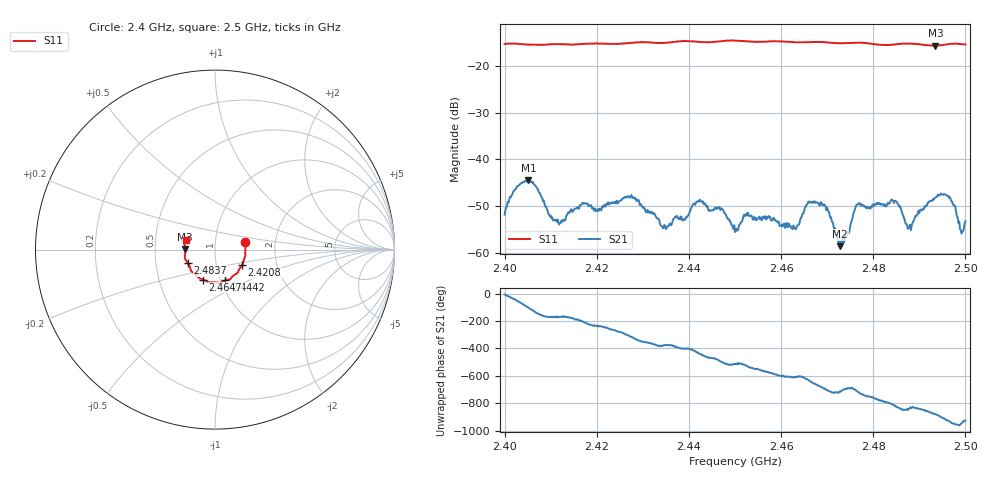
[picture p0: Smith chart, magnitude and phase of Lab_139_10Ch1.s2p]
# Hz S RI R 50
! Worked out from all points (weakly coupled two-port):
!   601 points, 2.4 GHz to 2.5 GHz, reference 50 ohm
!   highest |S21| = -44.46 dB at 2.4052 GHz (marker M1); lowest = -58.6 dB at 2.4728 GHz (marker M2)
!   lowest |S11| = -15.6 dB at 2.4935 GHz (marker M3), VSWR 1.40, Z = 35.8 + j0.21 ohm
!   |S11| at or under -10 dB: start of sweep to end of sweep
!   S12 and S22 are empty: the file has one direction only
!   S11 on the Smith chart (normalised r, x): 2.4 GHz: 1.40, +0.12; 2.4208 GHz: 1.33, -0.24; 2.4442 GHz: 1.05, -0.37; 2.4647 GHz: 0.83, -0.29; 2.4837 GHz: 0.73, -0.11; 2.5 GHz: 0.72, +0.08
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2.4e9  0.1682 0.0405  0.00254 -0.000253  0 0  0 0
2.405167e9  0.1701 0.00787  -0.0012 -0.00586  0 0  0 0
2.411667e9  0.1683 -0.0368  -0.0021 -0.000247  0 0  0 0
2.416667e9  0.1587 -0.0682  -0.00313 0.00101  0 0  0 0
2.420833e9  0.1511 -0.0876  -0.00161 0.00245  0 0  0 0
2.427167e9  0.13 -0.1202  0.00251 0.00299  0 0  0 0
2.433333e9  0.1081 -0.1401  0.00214 -0.00085  0 0  0 0
2.444167e9  0.0568 -0.1711  -0.000734 -0.00282  0 0  0 0
2.45e9  0.0245 -0.1865  -0.00147 -0.00077  0 0  0 0
2.462833e9  -0.0529 -0.1727  -0.00061 0.00174  0 0  0 0
2.464667e9  -0.0673 -0.1667  -0.00088 0.00248  0 0  0 0
2.466667e9  -0.0802 -0.1624  0.00109 0.00324  0 0  0 0
2.469833e9  -0.0927 -0.1544  0.00271 0.000927  0 0  0 0
2.472833e9  -0.1065 -0.1398  0.00117 6.67e-05  0 0  0 0
2.476667e9  -0.1307 -0.1212  0.00329 0.00014  0 0  0 0
2.483333e9  -0.1503 -0.0762  0.000779 -0.00326  0 0  0 0
2.483667e9  -0.1521 -0.0732  0.000556 -0.00342  0 0  0 0
2.487833e9  -0.1678 -0.0486  -0.000961 -0.00159  0 0  0 0
2.4935e9  -0.1655 0.00285  -0.00369 -0.00131  0 0  0 0
2.496167e9  -0.1695 0.0271  -0.00363 0.00189  0 0  0 0
2.499e9  -0.1668 0.0454  -0.00107 0.00137  0 0  0 0
2.5e9  -0.1625 0.0526  -0.00194 0.000981  0 0  0 0
